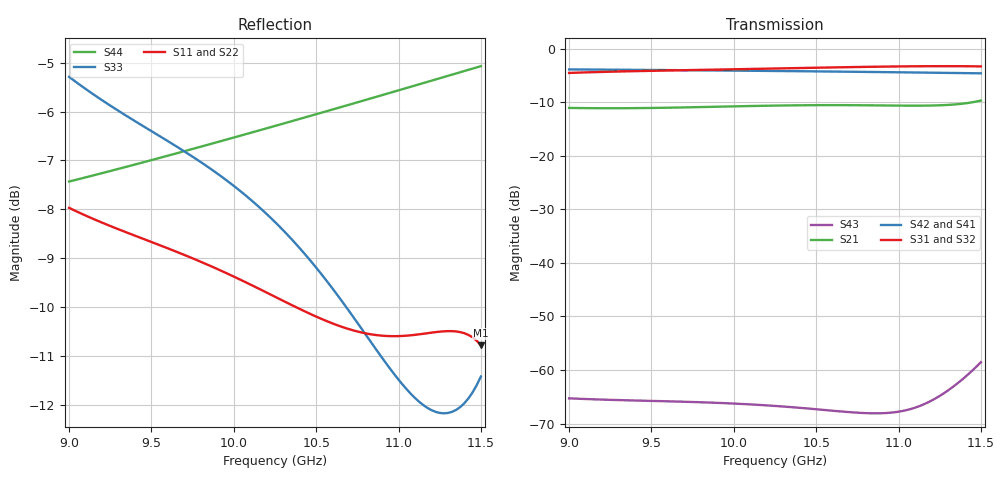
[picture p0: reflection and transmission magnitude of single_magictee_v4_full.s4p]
! Generated from PyAEDT SolutionData; AEDT ExportNetworkData workaround
# GHz S MA R 50
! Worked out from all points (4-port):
!   101 points, 9 GHz to 11.5 GHz, reference 50 ohm
!   strongest paths, dB at 9 GHz, 9.625 GHz, 10.25 GHz, 10.88 GHz, 11.5 GHz:
!     S31: -4.5, -4.0, -3.7, -3.4, -3.3
!     S32: -4.6, -4.1, -3.7, -3.4, -3.4
!     S42: -3.9, -4.0, -4.2, -4.4, -4.6
!     S41: -3.9, -4.0, -4.2, -4.4, -4.7
!     S21: -11.1, -11.0, -10.6, -10.6, -9.7
!     S43: -65.3, -65.9, -66.7, -68.1, -58.6
!   lowest |S11| = -10.8 dB at 11.5 GHz (marker M1), VSWR 1.81, Z = 37.8 + j23.2 ohm
!   |S11| at or under -10 dB: 10.37 GHz to end of sweep
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9  0.3994 7.1  0.2802 -67.8  0.5946 -15.3  0.639 44.9
   0.2802 -67.8  0.3999 7.5  0.5921 -15.3  0.6411 -135.0
   0.5946 -15.3  0.5921 -15.3  0.5439 171.9  0.0005436 49.3
   0.639 44.9  0.6411 -135.0  0.0005436 49.3  0.425 -137.1
9.375  0.3755 -37.4  0.2787 -120.6  0.6165 -82.5  0.6334 2.6
       0.2787 -120.6  0.3761 -37.1  0.6139 -82.4  0.6356 -177.4
       0.6165 -82.5  0.6139 -82.4  0.493 86.5  0.00052 -8.9
       0.6334 2.6  0.6356 -177.4  0.00052 -8.9  0.4413 -176.4
9.9  0.3458 -96.8  0.2875 169.0  0.6388 -172.4  0.6243 -54.5
     0.2875 169.0  0.3467 -96.5  0.636 -172.4  0.6267 125.6
     0.6388 -172.4  0.636 -172.4  0.433 -26.7  0.0004932 -87.3
     0.6243 -54.5  0.6267 125.6  0.0004932 -87.3  0.4664 129.9
10.2  0.327 -128.8  0.2936 129.8  0.6515 137.5  0.6183 -86.2
      0.2936 129.8  0.3282 -128.4  0.6486 137.5  0.6209 93.9
      0.6515 137.5  0.6486 137.5  0.3936 -89.5  0.0004671 -129.6
      0.6183 -86.2  0.6209 93.9  0.0004671 -129.6  0.4819 99.7
10.525  0.3078 -161.2  0.2972 88.0  0.6659 83.4  0.6112 -119.9
        0.2972 88.0  0.3091 -160.7  0.6627 83.4  0.614 60.1
        0.6659 83.4  0.6627 83.4  0.3427 -158.3  0.0004266 -170.2
        0.6112 -119.9  0.614 60.1  0.0004266 -170.2  0.4995 67.4
11.025  0.2953 153.2  0.2943 26.4  0.684 -1.1  0.5986 -171.1
        0.2943 26.4  0.2969 153.7  0.6803 -1.0  0.602 9.0
        0.684 -1.1  0.6803 -1.0  0.2633 87.6  0.0004144 152.5
        0.5986 -171.1  0.602 9.0  0.0004144 152.5  0.5284 18.0
11.5  0.2888 103.0  0.3285 -25.6  0.6837 -88.2  0.5842 141.0
      0.3285 -25.6  0.2898 103.8  0.6787 -88.2  0.5895 -39.1
      0.6837 -88.2  0.6787 -88.2  0.2684 -27.7  0.001181 127.2
      0.5842 141.0  0.5895 -39.1  0.001181 127.2  0.5578 -28.7
